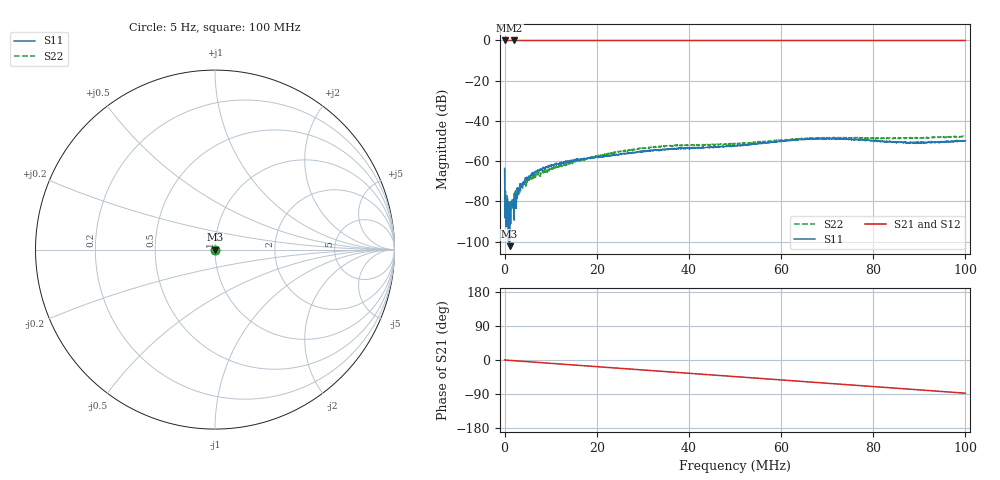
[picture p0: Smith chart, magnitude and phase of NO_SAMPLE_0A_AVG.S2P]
!Agilent Technologies,E5061B,MY49102235,A.02.00
!Date: Mon Jul 10 11:58:16 2023
!Data & Calibration Information:
!Freq	S11:SOLT2(ON)	S21:SOLT2(ON)	S12:SOLT2(ON)	S22:SOLT2(ON)
# Hz S RI R 50
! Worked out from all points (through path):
!   1600 points, 5 Hz to 100 MHz, reference 50 ohm
!   highest |S21| = 0.01 dB at 5 Hz (marker M1); lowest = 0.0 dB at 2.126 MHz (marker M2)
!   group delay of S21, straight-line fit = 2.43 ns
!   lowest |S11| = -102.2 dB at 1.063 MHz (marker M3), VSWR 1.00, Z = 50 + j0.00075 ohm
!   |S11| at or under -10 dB: start of sweep to end of sweep
!   |S22| runs from -90.4 to -47.5 dB; largest |S21 - S12| = 0.0026
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5  -0.000484 0.000449  1.002 0.0023  1 -2.47e-05  -0.000113 -5.31e-05
562856.8  9.94e-05 5.89e-05  0.9997 -0.00892  0.9997 -0.00845  5.22e-05 -1.61e-05
1063169  1.85e-06 7.5e-06  1 -0.0162  1 -0.0166  2.3e-05 -7.82e-05
1563482  -5.82e-05 -8.14e-05  0.9993 -0.0241  0.9997 -0.0238  -2.47e-05 -9.96e-05
2126334  5.2e-05 -0.000139  0.9988 -0.0325  0.9993 -0.0326  -4.22e-05 -0.000155
2751725  9.59e-05 -0.000196  0.9993 -0.0419  0.9986 -0.0418  7.18e-06 -0.00012
3252037  0.000107 -0.000189  0.9987 -0.0498  0.9986 -0.0496  5.72e-05 -0.00018
4002506  0.000114 -0.000267  0.9981 -0.0613  0.998 -0.0611  3.23e-05 -0.000235
4315202  0.000113 -0.000307  0.9978 -0.0661  0.9977 -0.0657  -5.87e-06 -0.000298
5503444  0.000109 -0.000414  0.9964 -0.0842  0.9962 -0.0842  2.74e-05 -0.000358
6691687  0.000111 -0.00055  0.9948 -0.1022  0.9944 -0.1022  -3.13e-05 -0.000392
1.000626e7  9.5e-05 -0.000733  0.9883 -0.1525  0.9882 -0.1523  5.69e-05 -0.000632
1.282052e7  7.07e-05 -0.000939  0.9807 -0.1949  0.9808 -0.1949  8.59e-05 -0.000792
1.669794e7  -6.18e-06 -0.00112  0.9675 -0.2525  0.9675 -0.2525  0.000108 -0.00108
2.507818e7  -0.000217 -0.00146  0.9272 -0.3743  0.9272 -0.3741  8.36e-05 -0.00172
3.333334e7  -0.000544 -0.0018  0.8728 -0.488  0.8728 -0.4878  -0.000152 -0.00231
5.003127e7  -0.000707 -0.00232  0.7212 -0.6926  0.7213 -0.6925  -0.00107 -0.00252
6.672921e7  -0.00198 -0.00302  0.5229 -0.8524  0.5228 -0.8521  -0.00203 -0.00312
7.304565e7  -0.00198 -0.003  0.4383 -0.8987  0.4384 -0.8985  -0.00204 -0.00327
8.33646e7  -0.0014 -0.00271  0.2915 -0.9565  0.2916 -0.9561  -0.00159 -0.00334
9.130707e7  -0.00165 -0.00246  0.1736 -0.9846  0.1736 -0.9844  -0.00184 -0.00338
1e8  -0.00213 -0.00241  0.0416 -0.9989  0.0417 -0.9989  -0.00255 -0.00338
